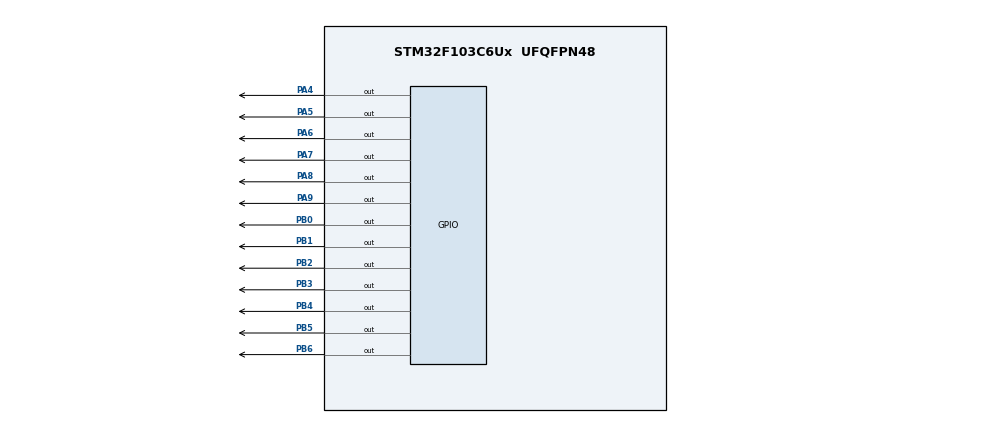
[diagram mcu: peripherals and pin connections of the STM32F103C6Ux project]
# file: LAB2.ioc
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Mcu.Family=STM32F1
Mcu.Name=STM32F103C6Ux
Mcu.Package=UFQFPN48
NVIC.PriorityGroup=NVIC_PRIORITYGROUP_4
NVIC.TIM2_IRQn=true\:0\:0\:false\:false\:true\:true\:true
PA4.Signal=GPIO_Output
PA5.Signal=GPIO_Output
PA6.Signal=GPIO_Output
PA7.Signal=GPIO_Output
PA8.Signal=GPIO_Output
PA9.Signal=GPIO_Output
PB0.Signal=GPIO_Output
PB1.Signal=GPIO_Output
PB2.Signal=GPIO_Output
PB3.Signal=GPIO_Output
PB4.Signal=GPIO_Output
PB5.Signal=GPIO_Output
PB6.Signal=GPIO_Output
ProjectManager.HeapSize=0x200
ProjectManager.StackSize=0x400
ProjectManager.TargetToolchain=STM32CubeIDE
RCC.APB1Freq_Value=8000000
RCC.APB2Freq_Value=8000000
TIM2.Period=9
TIM2.Prescaler=7999
VP_SYS_VS_ND.Mode=No_Debug
VP_TIM2_VS_ClockSourceINT.Mode=Internal
board=custom

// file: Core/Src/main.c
/* USER CODE BEGIN Header */
/**
  ******************************************************************************
  * @file           : main.c
  * @brief          : Main program body
  ******************************************************************************
  * @attention
  *
  * <h2><center>&copy; Copyright (c) 2024 STMicroelectronics.
  * All rights reserved.</center></h2>
  *
  * This software component is licensed by ST under BSD 3-Clause license,
  * the "License"; You may not use this file except in compliance with the
  * License. You may obtain a copy of the License at:
  *                        opensource.org/licenses/BSD-3-Clause
  *
  ******************************************************************************
  */
/* USER CODE END Header */
#include "main.h"

/* USER CODE BEGIN Includes */
#include "Exercise1.h"
/* USER CODE END Includes */

TIM_HandleTypeDef htim2;

void SystemClock_Config(void);
static void MX_GPIO_Init(void);
static void MX_TIM2_Init(void);

/* USER CODE BEGIN 0 */
int hour = 15, minute = 8, second = 50;
int led_buffer[4];
void updateClockBuffer() {
    led_buffer[0] = hour/10;
    led_buffer[1] = hour%10;
    led_buffer[2] = minute/10;
    led_buffer[3] = minute%10;
}

//Exercise 6 additions
int timer0_counter = 0, timer1_counter = 0, timer2_counter = 0;
int timer0_flag = 0, timer1_flag = 0, timer2_flag = 0;
int TIMER_CYCLE = 10;
void setTimer0 (int duration) {
	timer0_counter = duration/TIMER_CYCLE;
	timer0_flag = 0;
}
void setTimer1 (int duration) {
	timer1_counter = duration/TIMER_CYCLE;
	timer1_flag = 0;
}
void setTimer2 (int duration) {
	timer2_counter = duration/TIMER_CYCLE;
	timer2_flag = 0;
}
void timer_run() {
	if (timer0_counter > 0) {
		timer0_counter--;
		if (timer0_counter == 0) timer0_flag = 1;
	}
	if (timer1_counter > 0) {
		timer1_counter--;
		if (timer1_counter == 0) timer1_flag = 1;
	}
	if (timer2_counter > 0) {
		timer2_counter--;
		if (timer2_counter == 0) timer2_flag = 1;
	}
}
const int MAX_LED = 4;
int index_led = 0;
int led_buffer [4] = {1, 5, 0, 8};
void update7SEG (int index) {
	switch (index) {
		case 0:
			// Display the first 7 SEG with led_buffer [0]
			HAL_GPIO_WritePin(GPIOA, GPIO_PIN_6, RESET);
			HAL_GPIO_WritePin(GPIOA, GPIO_PIN_7, SET);
			HAL_GPIO_WritePin(GPIOA, GPIO_PIN_8, SET);
			HAL_GPIO_WritePin(GPIOA, GPIO_PIN_9, SET);
			display7SEG(led_buffer[0]);
		break;
		case 1:
			// Display the second 7 SEG with led_buffer [1]
			HAL_GPIO_WritePin(GPIOA, GPIO_PIN_6, SET);
			HAL_GPIO_WritePin(GPIOA, GPIO_PIN_7, RESET);
			HAL_GPIO_WritePin(GPIOA, GPIO_PIN_8, SET);
			HAL_GPIO_WritePin(GPIOA, GPIO_PIN_9, SET);
			display7SEG(led_buffer[1]);
		break;
		case 2:
 			// Display the third 7 SEG with led_buffer [2]
			HAL_GPIO_WritePin(GPIOA, GPIO_PIN_6, SET);
			HAL_GPIO_WritePin(GPIOA, GPIO_PIN_7, SET);
			HAL_GPIO_WritePin(GPIOA, GPIO_PIN_8, RESET);
			HAL_GPIO_WritePin(GPIOA, GPIO_PIN_9, SET);
			display7SEG(led_buffer[2]);
		break;
		case 3:
			// Display the forth 7 SEG with led_buffer [3]
			HAL_GPIO_WritePin(GPIOA, GPIO_PIN_6, SET);
			HAL_GPIO_WritePin(GPIOA, GPIO_PIN_7, SET);
			HAL_GPIO_WritePin(GPIOA, GPIO_PIN_8, SET);
			HAL_GPIO_WritePin(GPIOA, GPIO_PIN_9, RESET);
			display7SEG(led_buffer[3]);
			break;
		default:
			break;
	}
}
/* USER CODE END 0 */

int main(void)
{

  /* MCU Configuration--------------------------------------------------------*/

  /* Reset of all peripherals, Initializes the Flash interface and the Systick. */
  HAL_Init();

  /* Configure the system clock */
  SystemClock_Config();

  /* Initialize all configured peripherals */
  MX_GPIO_Init();
  MX_TIM2_Init();
  /* USER CODE BEGIN 2 */
  HAL_TIM_Base_Start_IT(&htim2);
  /* USER CODE END 2 */

  /* Infinite loop */
  /* USER CODE BEGIN WHILE */
  setTimer0(1000);
  setTimer1(1000);
  setTimer2(250);
  int index = 0;
  while (1)
  {
	  if (timer0_flag == 1) {
		  HAL_GPIO_TogglePin(GPIOA, GPIO_PIN_4);
		  setTimer0(1000);
	  }

	  if (timer1_flag == 1) {
		  second++;
		  if (second >= 60) {
		  	second = 0;
		  	minute++;
		  }
		  if (minute >= 60) {
		  	minute = 0;
		  	hour++;
		  }
		  if (hour >= 24) hour = 0;
		  updateClockBuffer();
		  setTimer1(1000);
	  }

	  if (timer2_flag == 1) {
		  update7SEG(index);
		  index++;
		  if(index == 4) index = 0;
		  setTimer2(250);
	  }

	  //HAL_Delay(1000);
    /* USER CODE END WHILE */

  }
}

void SystemClock_Config(void)
{
  RCC_OscInitTypeDef RCC_OscInitStruct = {0};
  RCC_ClkInitTypeDef RCC_ClkInitStruct = {0};

  /** Initializes the RCC Oscillators according to the specified parameters
  * in the RCC_OscInitTypeDef structure.
  */
  RCC_OscInitStruct.OscillatorType = RCC_OSCILLATORTYPE_HSI;
  RCC_OscInitStruct.HSIState = RCC_HSI_ON;
  RCC_OscInitStruct.HSICalibrationValue = RCC_HSICALIBRATION_DEFAULT;
  RCC_OscInitStruct.PLL.PLLState = RCC_PLL_NONE;
  if (HAL_RCC_OscConfig(&RCC_OscInitStruct) != HAL_OK)
  {
    Error_Handler();
  }
  /** Initializes the CPU, AHB and APB buses clocks
  */
  RCC_ClkInitStruct.ClockType = RCC_CLOCKTYPE_HCLK|RCC_CLOCKTYPE_SYSCLK
                              |RCC_CLOCKTYPE_PCLK1|RCC_CLOCKTYPE_PCLK2;
  RCC_ClkInitStruct.SYSCLKSource = RCC_SYSCLKSOURCE_HSI;
  RCC_ClkInitStruct.AHBCLKDivider = RCC_SYSCLK_DIV1;
  RCC_ClkInitStruct.APB1CLKDivider = RCC_HCLK_DIV1;
  RCC_ClkInitStruct.APB2CLKDivider = RCC_HCLK_DIV1;

  if (HAL_RCC_ClockConfig(&RCC_ClkInitStruct, FLASH_LATENCY_0) != HAL_OK)
  {
    Error_Handler();
  }
}

static void MX_TIM2_Init(void)
{

  TIM_ClockConfigTypeDef sClockSourceConfig = {0};
  TIM_MasterConfigTypeDef sMasterConfig = {0};

  htim2.Instance = TIM2;
  htim2.Init.Prescaler = 7999;
  htim2.Init.CounterMode = TIM_COUNTERMODE_UP;
  htim2.Init.Period = 9;
  htim2.Init.ClockDivision = TIM_CLOCKDIVISION_DIV1;
  htim2.Init.AutoReloadPreload = TIM_AUTORELOAD_PRELOAD_DISABLE;
  if (HAL_TIM_Base_Init(&htim2) != HAL_OK)
  {
    Error_Handler();
  }
  sClockSourceConfig.ClockSource = TIM_CLOCKSOURCE_INTERNAL;
  if (HAL_TIM_ConfigClockSource(&htim2, &sClockSourceConfig) != HAL_OK)
  {
    Error_Handler();
  }
  sMasterConfig.MasterOutputTrigger = TIM_TRGO_RESET;
  sMasterConfig.MasterSlaveMode = TIM_MASTERSLAVEMODE_DISABLE;
  if (HAL_TIMEx_MasterConfigSynchronization(&htim2, &sMasterConfig) != HAL_OK)
  {
    Error_Handler();
  }

}

static void MX_GPIO_Init(void)
{
  GPIO_InitTypeDef GPIO_InitStruct = {0};

  /* GPIO Ports Clock Enable */
  __HAL_RCC_GPIOA_CLK_ENABLE();
  __HAL_RCC_GPIOB_CLK_ENABLE();

  /*Configure GPIO pin Output Level */
  HAL_GPIO_WritePin(GPIOA, GPIO_PIN_4|GPIO_PIN_5|GPIO_PIN_6|GPIO_PIN_7
                          |GPIO_PIN_8|GPIO_PIN_9, GPIO_PIN_RESET);

  /*Configure GPIO pin Output Level */
  HAL_GPIO_WritePin(GPIOB, GPIO_PIN_0|GPIO_PIN_1|GPIO_PIN_2|GPIO_PIN_3
                          |GPIO_PIN_4|GPIO_PIN_5|GPIO_PIN_6, GPIO_PIN_RESET);

  /*Configure GPIO pins : PA4 PA5 PA6 PA7
                           PA8 PA9 */
  GPIO_InitStruct.Pin = GPIO_PIN_4|GPIO_PIN_5|GPIO_PIN_6|GPIO_PIN_7
                          |GPIO_PIN_8|GPIO_PIN_9;
  GPIO_InitStruct.Mode = GPIO_MODE_OUTPUT_PP;
  GPIO_InitStruct.Pull = GPIO_NOPULL;
  GPIO_InitStruct.Speed = GPIO_SPEED_FREQ_LOW;
  HAL_GPIO_Init(GPIOA, &GPIO_InitStruct);

  /*Configure GPIO pins : PB0 PB1 PB2 PB3
                           PB4 PB5 PB6 */
  GPIO_InitStruct.Pin = GPIO_PIN_0|GPIO_PIN_1|GPIO_PIN_2|GPIO_PIN_3
                          |GPIO_PIN_4|GPIO_PIN_5|GPIO_PIN_6;
  GPIO_InitStruct.Mode = GPIO_MODE_OUTPUT_PP;
  GPIO_InitStruct.Pull = GPIO_NOPULL;
  GPIO_InitStruct.Speed = GPIO_SPEED_FREQ_LOW;
  HAL_GPIO_Init(GPIOB, &GPIO_InitStruct);

}

/* USER CODE BEGIN 4 */
void HAL_TIM_PeriodElapsedCallback(TIM_HandleTypeDef *htim) {
	timer_run();
}
/* USER CODE END 4 */

void Error_Handler(void)
{
  __disable_irq();
  while (1)
  {
  }
}

/************************ (C) COPYRIGHT STMicroelectronics *****END OF FILE****/
